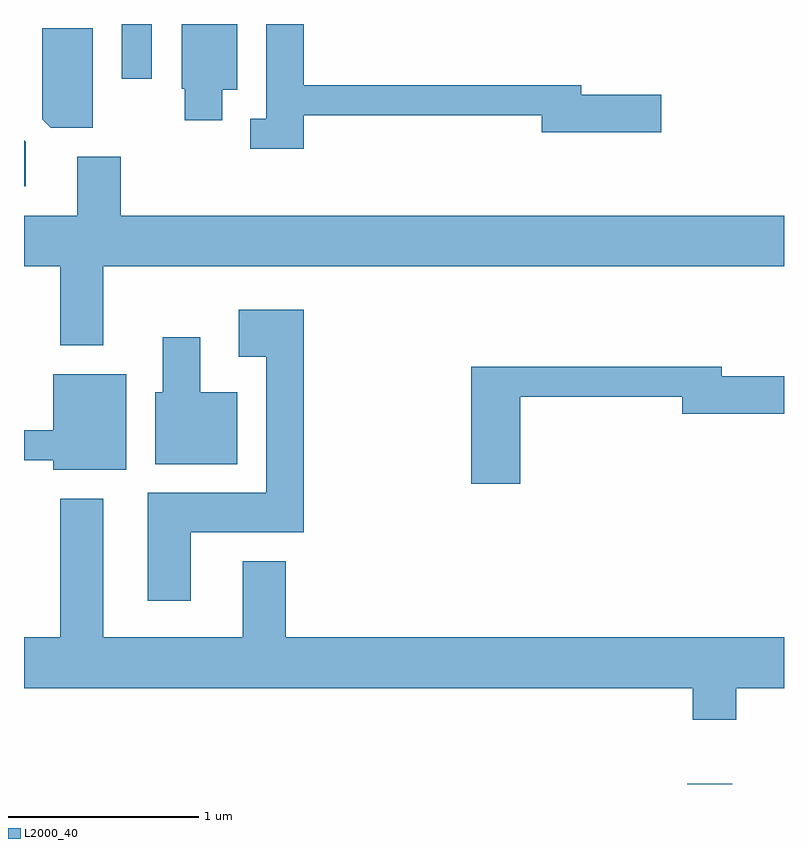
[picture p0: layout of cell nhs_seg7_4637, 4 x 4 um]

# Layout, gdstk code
import gdstk
lib = gdstk.Library(unit=1e-6, precision=1e-09)
def R(c, l, rs):  # rectangles x0, y0, x1, y1
    for r in rs: c.add(gdstk.rectangle(r[:2], r[2:], *l))
def P(c, l, *ps):  # polygons
    for p in ps: c.add(gdstk.Polygon(p, *l))
L2000_40 = (2000, 40)

nhs_seg7_4637 = lib.new_cell('nhs_seg7_4637')
R(nhs_seg7_4637, L2000_40, [(331.101,1718.252,331.339,1718.254), (328.126,1721.963,328.284,1722.252)])
P(nhs_seg7_4637, L2000_40, [(329.084,1721.771),(330.336,1721.771),(330.336,1721.681),(330.964,1721.681),(330.964,1721.879),(330.544,1721.879),(330.544,1721.929),(329.084,1721.929),(329.084,1722.252),(328.886,1722.252),(328.886,1721.754),(328.803,1721.754),(328.803,1721.596),(329.084,1721.596)],
  [(328.654,1721.906),(328.734,1721.906),(328.734,1722.252),(328.441,1722.252),(328.441,1721.91),(328.456,1721.91),(328.456,1721.746),(328.654,1721.746)],
  [(327.974,1722.229),(327.706,1722.229),(327.706,1721.752),(327.752,1721.706),(327.974,1721.706)],
  [(327.619,1721.632),(327.611,1721.64),(327.611,1721.398),(327.619,1721.398)],
  [(327.611,1720.976),(327.801,1720.976),(327.801,1720.561),(328.029,1720.561),(328.029,1720.976),(331.611,1720.976),(331.611,1721.244),(328.119,1721.244),(328.119,1721.554),(327.891,1721.554),(327.891,1721.244),(327.611,1721.244)],
  [(328.489,1719.576),(329.084,1719.576),(329.084,1720.749),(328.741,1720.749),(328.741,1720.501),(328.886,1720.501),(328.886,1719.784),(328.261,1719.784),(328.261,1719.216),(328.489,1719.216)],
  [(328.734,1720.314),(328.539,1720.314),(328.539,1720.604),(328.341,1720.604),(328.341,1720.314),(328.301,1720.314),(328.301,1719.936),(328.734,1719.936)],
  [(330.224,1720.291),(331.076,1720.291),(331.076,1720.201),(331.611,1720.201),(331.611,1720.399),(331.284,1720.399),(331.284,1720.449),(329.966,1720.449),(329.966,1719.831),(330.224,1719.831)],
  [(328.149,1720.409),(327.766,1720.409),(327.766,1720.114),(327.611,1720.114),(327.611,1719.956),(327.766,1719.956),(327.766,1719.906),(328.149,1719.906)],
  [(331.359,1718.756),(331.611,1718.756),(331.611,1719.024),(328.989,1719.024),(328.989,1719.424),(328.761,1719.424),(328.761,1719.024),(328.029,1719.024),(328.029,1719.754),(327.801,1719.754),(327.801,1719.024),(327.611,1719.024),(327.611,1718.756),(331.131,1718.756),(331.131,1718.591),(331.359,1718.591)])

lib.write_gds('nhs_seg7_4637.gds')
